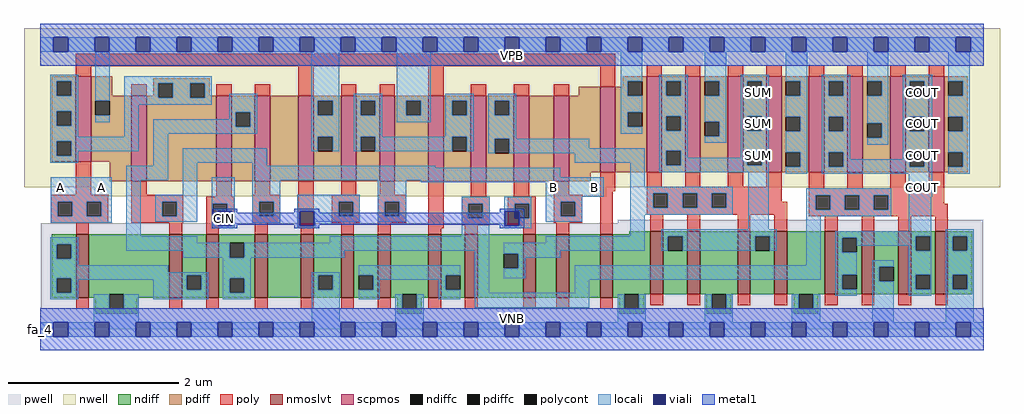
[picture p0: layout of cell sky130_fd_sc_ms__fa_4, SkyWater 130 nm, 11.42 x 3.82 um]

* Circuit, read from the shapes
.subckt sky130_fd_sc_ms__fa_4 A B CIN VGND VNB VPB VPWR COUT SUM
XM1 VGND A n1 VNB sky130_fd_pr__nfet_01v8_lvt w=0.74 l=0.15
XM2 n1 B VGND VNB sky130_fd_pr__nfet_01v8_lvt w=0.74 l=0.15
XM3 n2 CIN n1 VNB sky130_fd_pr__nfet_01v8_lvt w=0.74 l=0.15
XM4 n3 B n2 VNB sky130_fd_pr__nfet_01v8_lvt w=0.74 l=0.15
XM5 VGND A n3 VNB sky130_fd_pr__nfet_01v8_lvt w=0.74 l=0.15
XM6 n4 CIN VGND VNB sky130_fd_pr__nfet_01v8_lvt w=0.74 l=0.15
XM7 VGND B n4 VNB sky130_fd_pr__nfet_01v8_lvt w=0.74 l=0.15
XM8 n4 A VGND VNB sky130_fd_pr__nfet_01v8_lvt w=0.74 l=0.15
XM9 n5 n2 n4 VNB sky130_fd_pr__nfet_01v8_lvt w=0.74 l=0.15
XM10 n6 CIN n5 VNB sky130_fd_pr__nfet_01v8_lvt w=0.74 l=0.15
XM11 n7 B n6 VNB sky130_fd_pr__nfet_01v8_lvt w=0.74 l=0.15
XM12 VGND A n7 VNB sky130_fd_pr__nfet_01v8_lvt w=0.74 l=0.15
XM13 SUM n5 VGND VNB sky130_fd_pr__nfet_01v8_lvt w=0.74 l=0.15 m=4
XM14 COUT n2 VGND VNB sky130_fd_pr__nfet_01v8_lvt w=0.74 l=0.15 m=4
XM15 VPWR A n8 VPB sky130_fd_pr__pfet_01v8 w=1 l=0.18
XM16 n8 B VPWR VPB sky130_fd_pr__pfet_01v8 w=1 l=0.18
XM17 n2 CIN n8 VPB sky130_fd_pr__pfet_01v8 w=1 l=0.18
XM18 n9 B n2 VPB sky130_fd_pr__pfet_01v8 w=1 l=0.18
XM19 VPWR A n9 VPB sky130_fd_pr__pfet_01v8 w=1 l=0.18
XM20 n10 CIN VPWR VPB sky130_fd_pr__pfet_01v8 w=1 l=0.18
XM21 VPWR B n10 VPB sky130_fd_pr__pfet_01v8 w=1 l=0.18
XM22 n10 A VPWR VPB sky130_fd_pr__pfet_01v8 w=1 l=0.18
XM23 n5 n2 n10 VPB sky130_fd_pr__pfet_01v8 w=1 l=0.18
XM24 n11 CIN n5 VPB sky130_fd_pr__pfet_01v8 w=1 l=0.18
XM25 n12 B n11 VPB sky130_fd_pr__pfet_01v8 w=1 l=0.18
XM26 VPWR A n12 VPB sky130_fd_pr__pfet_01v8 w=1 l=0.18
XM27 SUM n5 VPWR VPB sky130_fd_pr__pfet_01v8 w=1.12 l=0.18 m=4
XM28 COUT n2 VPWR VPB sky130_fd_pr__pfet_01v8 w=1.12 l=0.18 m=4
.ends

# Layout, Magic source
magic
tech sky130A
magscale 1 2
<< nwell >>
rect -38 332 2246 704
rect 127 311 1324 332
<< pwell >>
rect 1352 248 2207 256
rect 1 49 2207 248
rect 0 0 2208 49
<< scpmos >>
rect 83 392 119 592
rect 213 347 249 547
rect 412 347 448 547
rect 502 347 538 547
rect 604 347 640 547
rect 704 347 740 547
rect 794 347 830 547
rect 908 347 944 547
rect 1008 347 1044 547
rect 1108 347 1144 547
rect 1202 347 1238 547
rect 1310 368 1346 568
rect 1419 368 1455 592
rect 1509 368 1545 592
rect 1609 368 1645 592
rect 1699 368 1735 592
rect 1799 368 1835 592
rect 1889 368 1925 592
rect 1989 368 2025 592
rect 2079 368 2115 592
<< nmoslvt >>
rect 84 74 114 222
rect 302 74 332 222
rect 388 74 418 222
rect 502 74 532 222
rect 610 74 640 222
rect 704 74 734 222
rect 790 74 820 222
rect 908 74 938 222
rect 994 74 1024 222
rect 1130 74 1160 222
rect 1208 74 1238 222
rect 1310 74 1340 222
rect 1428 82 1458 230
rect 1514 82 1544 230
rect 1632 82 1662 230
rect 1718 82 1748 230
rect 1836 82 1866 230
rect 1922 82 1952 230
rect 2008 82 2038 230
rect 2094 82 2124 230
<< ndiff >>
rect 1378 222 1428 230
rect 27 199 84 222
rect 27 165 39 199
rect 73 165 84 199
rect 27 120 84 165
rect 27 86 39 120
rect 73 86 84 120
rect 27 74 84 86
rect 114 82 302 222
rect 114 74 161 82
rect 129 48 161 74
rect 195 74 302 82
rect 332 127 388 222
rect 332 93 343 127
rect 377 93 388 127
rect 332 74 388 93
rect 418 202 502 222
rect 418 168 443 202
rect 477 168 502 202
rect 418 120 502 168
rect 418 86 443 120
rect 477 86 502 120
rect 418 74 502 86
rect 532 74 610 222
rect 640 127 704 222
rect 640 93 651 127
rect 685 93 704 127
rect 640 74 704 93
rect 734 127 790 222
rect 734 93 745 127
rect 779 93 790 127
rect 734 74 790 93
rect 820 82 908 222
rect 820 74 847 82
rect 195 48 227 74
rect 835 48 847 74
rect 881 74 908 82
rect 938 127 994 222
rect 938 93 949 127
rect 983 93 994 127
rect 938 74 994 93
rect 1024 177 1130 222
rect 1024 143 1085 177
rect 1119 143 1130 177
rect 1024 74 1130 143
rect 1160 74 1208 222
rect 1238 74 1310 222
rect 1340 82 1428 222
rect 1458 218 1514 230
rect 1458 184 1469 218
rect 1503 184 1514 218
rect 1458 82 1514 184
rect 1544 82 1632 230
rect 1662 218 1718 230
rect 1662 184 1673 218
rect 1707 184 1718 218
rect 1662 82 1718 184
rect 1748 82 1836 230
rect 1866 214 1922 230
rect 1866 180 1877 214
rect 1911 180 1922 214
rect 1866 128 1922 180
rect 1866 94 1877 128
rect 1911 94 1922 128
rect 1866 82 1922 94
rect 1952 146 2008 230
rect 1952 112 1963 146
rect 1997 112 2008 146
rect 1952 82 2008 112
rect 2038 218 2094 230
rect 2038 184 2049 218
rect 2083 184 2094 218
rect 2038 128 2094 184
rect 2038 94 2049 128
rect 2083 94 2094 128
rect 2038 82 2094 94
rect 2124 218 2181 230
rect 2124 184 2135 218
rect 2169 184 2181 218
rect 2124 128 2181 184
rect 2124 94 2135 128
rect 2169 94 2181 128
rect 2124 82 2181 94
rect 1340 74 1367 82
rect 881 48 893 74
rect 1355 48 1367 74
rect 1401 48 1413 82
rect 129 36 227 48
rect 835 36 893 48
rect 1355 36 1413 48
rect 1559 48 1571 82
rect 1605 48 1617 82
rect 1559 36 1617 48
rect 1763 48 1775 82
rect 1809 48 1821 82
rect 1763 36 1821 48
<< pdiff >>
rect 27 580 83 592
rect 27 546 39 580
rect 73 546 83 580
rect 27 510 83 546
rect 27 476 39 510
rect 73 476 83 510
rect 27 440 83 476
rect 27 406 39 440
rect 73 406 83 440
rect 27 392 83 406
rect 119 547 169 592
rect 264 576 397 588
rect 264 547 276 576
rect 119 535 213 547
rect 119 501 129 535
rect 163 501 213 535
rect 119 392 213 501
rect 163 347 213 392
rect 249 542 276 547
rect 310 542 351 576
rect 385 547 397 576
rect 1363 580 1419 592
rect 1363 568 1375 580
rect 1260 547 1310 568
rect 385 542 412 547
rect 249 347 412 542
rect 448 508 502 547
rect 448 474 458 508
rect 492 474 502 508
rect 448 347 502 474
rect 538 347 604 547
rect 640 535 704 547
rect 640 501 650 535
rect 684 501 704 535
rect 640 451 704 501
rect 640 417 650 451
rect 684 417 704 451
rect 640 347 704 417
rect 740 535 794 547
rect 740 501 750 535
rect 784 501 794 535
rect 740 451 794 501
rect 740 417 750 451
rect 784 417 794 451
rect 740 347 794 417
rect 830 535 908 547
rect 830 501 857 535
rect 891 501 908 535
rect 830 347 908 501
rect 944 535 1008 547
rect 944 501 964 535
rect 998 501 1008 535
rect 944 451 1008 501
rect 944 417 964 451
rect 998 417 1008 451
rect 944 347 1008 417
rect 1044 535 1108 547
rect 1044 501 1064 535
rect 1098 501 1108 535
rect 1044 446 1108 501
rect 1044 412 1064 446
rect 1098 412 1108 446
rect 1044 347 1108 412
rect 1144 347 1202 547
rect 1238 368 1310 547
rect 1346 546 1375 568
rect 1409 546 1419 580
rect 1346 508 1419 546
rect 1346 474 1375 508
rect 1409 474 1419 508
rect 1346 368 1419 474
rect 1455 580 1509 592
rect 1455 546 1465 580
rect 1499 546 1509 580
rect 1455 499 1509 546
rect 1455 465 1465 499
rect 1499 465 1509 499
rect 1455 418 1509 465
rect 1455 384 1465 418
rect 1499 384 1509 418
rect 1455 368 1509 384
rect 1545 580 1609 592
rect 1545 546 1555 580
rect 1589 546 1609 580
rect 1545 486 1609 546
rect 1545 452 1555 486
rect 1589 452 1609 486
rect 1545 368 1609 452
rect 1645 580 1699 592
rect 1645 546 1655 580
rect 1689 546 1699 580
rect 1645 499 1699 546
rect 1645 465 1655 499
rect 1689 465 1699 499
rect 1645 418 1699 465
rect 1645 384 1655 418
rect 1689 384 1699 418
rect 1645 368 1699 384
rect 1735 580 1799 592
rect 1735 546 1745 580
rect 1779 546 1799 580
rect 1735 497 1799 546
rect 1735 463 1745 497
rect 1779 463 1799 497
rect 1735 414 1799 463
rect 1735 380 1745 414
rect 1779 380 1799 414
rect 1735 368 1799 380
rect 1835 580 1889 592
rect 1835 546 1845 580
rect 1879 546 1889 580
rect 1835 497 1889 546
rect 1835 463 1845 497
rect 1879 463 1889 497
rect 1835 414 1889 463
rect 1835 380 1845 414
rect 1879 380 1889 414
rect 1835 368 1889 380
rect 1925 580 1989 592
rect 1925 546 1935 580
rect 1969 546 1989 580
rect 1925 482 1989 546
rect 1925 448 1935 482
rect 1969 448 1989 482
rect 1925 368 1989 448
rect 2025 580 2079 592
rect 2025 546 2035 580
rect 2069 546 2079 580
rect 2025 497 2079 546
rect 2025 463 2035 497
rect 2069 463 2079 497
rect 2025 414 2079 463
rect 2025 380 2035 414
rect 2069 380 2079 414
rect 2025 368 2079 380
rect 2115 580 2171 592
rect 2115 546 2125 580
rect 2159 546 2171 580
rect 2115 497 2171 546
rect 2115 463 2125 497
rect 2159 463 2171 497
rect 2115 414 2171 463
rect 2115 380 2125 414
rect 2159 380 2171 414
rect 2115 368 2171 380
rect 1238 347 1288 368
<< ndiffc >>
rect 39 165 73 199
rect 39 86 73 120
rect 161 48 195 82
rect 343 93 377 127
rect 443 168 477 202
rect 443 86 477 120
rect 651 93 685 127
rect 745 93 779 127
rect 847 48 881 82
rect 949 93 983 127
rect 1085 143 1119 177
rect 1469 184 1503 218
rect 1673 184 1707 218
rect 1877 180 1911 214
rect 1877 94 1911 128
rect 1963 112 1997 146
rect 2049 184 2083 218
rect 2049 94 2083 128
rect 2135 184 2169 218
rect 2135 94 2169 128
rect 1367 48 1401 82
rect 1571 48 1605 82
rect 1775 48 1809 82
<< pdiffc >>
rect 39 546 73 580
rect 39 476 73 510
rect 39 406 73 440
rect 129 501 163 535
rect 276 542 310 576
rect 351 542 385 576
rect 458 474 492 508
rect 650 501 684 535
rect 650 417 684 451
rect 750 501 784 535
rect 750 417 784 451
rect 857 501 891 535
rect 964 501 998 535
rect 964 417 998 451
rect 1064 501 1098 535
rect 1064 412 1098 446
rect 1375 546 1409 580
rect 1375 474 1409 508
rect 1465 546 1499 580
rect 1465 465 1499 499
rect 1465 384 1499 418
rect 1555 546 1589 580
rect 1555 452 1589 486
rect 1655 546 1689 580
rect 1655 465 1689 499
rect 1655 384 1689 418
rect 1745 546 1779 580
rect 1745 463 1779 497
rect 1745 380 1779 414
rect 1845 546 1879 580
rect 1845 463 1879 497
rect 1845 380 1879 414
rect 1935 546 1969 580
rect 1935 448 1969 482
rect 2035 546 2069 580
rect 2035 463 2069 497
rect 2035 380 2069 414
rect 2125 546 2159 580
rect 2125 463 2159 497
rect 2125 380 2159 414
<< poly >>
rect 83 615 1346 645
rect 83 592 119 615
rect 213 547 249 573
rect 83 315 119 392
rect 412 547 448 573
rect 502 547 538 573
rect 604 547 640 615
rect 704 547 740 573
rect 794 547 830 573
rect 908 547 944 615
rect 1008 547 1044 573
rect 1108 547 1144 573
rect 1202 547 1238 573
rect 1310 568 1346 615
rect 1419 592 1455 618
rect 1509 592 1545 618
rect 1609 592 1645 618
rect 1699 592 1735 618
rect 1799 592 1835 618
rect 1889 592 1925 618
rect 1989 592 2025 618
rect 2079 592 2115 618
rect 213 315 249 347
rect 25 299 159 315
rect 25 265 41 299
rect 75 265 109 299
rect 143 265 159 299
rect 25 249 159 265
rect 213 299 335 315
rect 412 310 448 347
rect 502 315 538 347
rect 213 265 285 299
rect 319 265 335 299
rect 213 249 335 265
rect 388 294 454 310
rect 388 260 404 294
rect 438 260 454 294
rect 84 222 114 249
rect 302 222 332 249
rect 388 244 454 260
rect 496 299 562 315
rect 496 265 512 299
rect 546 265 562 299
rect 496 249 562 265
rect 388 222 418 244
rect 502 222 532 249
rect 604 237 640 347
rect 704 315 740 347
rect 794 315 830 347
rect 682 299 748 315
rect 682 265 698 299
rect 732 265 748 299
rect 682 249 748 265
rect 790 299 856 315
rect 790 265 806 299
rect 840 265 856 299
rect 790 249 856 265
rect 610 222 640 237
rect 704 222 734 249
rect 790 222 820 249
rect 908 237 944 347
rect 1008 310 1044 347
rect 1108 310 1144 347
rect 1202 315 1238 347
rect 1310 323 1346 368
rect 1419 334 1455 368
rect 1509 334 1545 368
rect 1609 334 1645 368
rect 1699 334 1735 368
rect 986 294 1052 310
rect 986 260 1002 294
rect 1036 260 1052 294
rect 986 244 1052 260
rect 1094 294 1160 310
rect 1094 260 1110 294
rect 1144 260 1160 294
rect 1094 244 1160 260
rect 1202 299 1268 315
rect 1202 265 1218 299
rect 1252 265 1268 299
rect 1202 249 1268 265
rect 908 222 938 237
rect 994 222 1024 244
rect 1130 222 1160 244
rect 1208 222 1238 249
rect 1310 222 1340 323
rect 1419 318 1735 334
rect 1419 284 1435 318
rect 1469 284 1503 318
rect 1537 284 1571 318
rect 1605 298 1735 318
rect 1799 330 1835 368
rect 1889 330 1925 368
rect 1989 330 2025 368
rect 2079 330 2115 368
rect 1799 314 2115 330
rect 1605 284 1748 298
rect 1419 268 1748 284
rect 1428 230 1458 268
rect 1514 230 1544 268
rect 1632 230 1662 268
rect 1718 230 1748 268
rect 1799 280 1815 314
rect 1849 280 1883 314
rect 1917 280 1951 314
rect 1985 294 2115 314
rect 1985 280 2124 294
rect 1799 264 2124 280
rect 1836 230 1866 264
rect 1922 230 1952 264
rect 2008 230 2038 264
rect 2094 230 2124 264
rect 84 48 114 74
rect 302 48 332 74
rect 388 48 418 74
rect 502 48 532 74
rect 610 48 640 74
rect 704 48 734 74
rect 790 48 820 74
rect 908 48 938 74
rect 994 48 1024 74
rect 1130 48 1160 74
rect 1208 48 1238 74
rect 1310 48 1340 74
rect 1428 56 1458 82
rect 1514 56 1544 82
rect 1632 56 1662 82
rect 1718 56 1748 82
rect 1836 56 1866 82
rect 1922 56 1952 82
rect 2008 56 2038 82
rect 2094 56 2124 82
<< polycont >>
rect 41 265 75 299
rect 109 265 143 299
rect 285 265 319 299
rect 404 260 438 294
rect 512 265 546 299
rect 698 265 732 299
rect 806 265 840 299
rect 1002 260 1036 294
rect 1110 260 1144 294
rect 1218 265 1252 299
rect 1435 284 1469 318
rect 1503 284 1537 318
rect 1571 284 1605 318
rect 1815 280 1849 314
rect 1883 280 1917 314
rect 1951 280 1985 314
<< locali >>
rect 0 649 31 683
rect 65 649 127 683
rect 161 649 223 683
rect 257 649 319 683
rect 353 649 415 683
rect 449 649 511 683
rect 545 649 607 683
rect 641 649 703 683
rect 737 649 799 683
rect 833 649 895 683
rect 929 649 991 683
rect 1025 649 1087 683
rect 1121 649 1183 683
rect 1217 649 1279 683
rect 1313 649 1375 683
rect 1409 649 1471 683
rect 1505 649 1567 683
rect 1601 649 1663 683
rect 1697 649 1759 683
rect 1793 649 1855 683
rect 1889 649 1951 683
rect 1985 649 2047 683
rect 2081 649 2143 683
rect 2177 649 2208 683
rect 23 580 89 596
rect 23 546 39 580
rect 73 546 89 580
rect 23 510 89 546
rect 23 476 39 510
rect 73 476 89 510
rect 129 535 163 649
rect 129 485 163 501
rect 197 576 401 592
rect 197 542 276 576
rect 310 542 351 576
rect 385 542 401 576
rect 197 526 401 542
rect 23 451 89 476
rect 197 451 231 526
rect 442 508 508 551
rect 442 492 458 508
rect 23 440 231 451
rect 23 406 39 440
rect 73 417 231 440
rect 265 474 458 492
rect 492 474 508 508
rect 265 458 508 474
rect 634 535 700 649
rect 634 501 650 535
rect 684 501 700 535
rect 73 406 89 417
rect 23 390 89 406
rect 265 383 299 458
rect 634 451 700 501
rect 25 299 167 356
rect 25 265 41 299
rect 75 265 109 299
rect 143 265 167 299
rect 25 249 167 265
rect 201 349 299 383
rect 333 390 530 424
rect 634 417 650 451
rect 684 417 700 451
rect 734 535 800 551
rect 734 501 750 535
rect 784 501 800 535
rect 734 451 800 501
rect 834 535 914 649
rect 1359 580 1409 649
rect 834 501 857 535
rect 891 501 914 535
rect 834 485 914 501
rect 948 535 1014 551
rect 948 501 964 535
rect 998 501 1014 535
rect 948 451 1014 501
rect 734 417 750 451
rect 784 417 964 451
rect 998 417 1014 451
rect 1048 535 1114 551
rect 1048 501 1064 535
rect 1098 501 1114 535
rect 1048 446 1114 501
rect 1359 546 1375 580
rect 1359 508 1409 546
rect 1359 474 1375 508
rect 1359 458 1409 474
rect 1449 580 1515 596
rect 1449 546 1465 580
rect 1499 546 1515 580
rect 1449 499 1515 546
rect 1449 465 1465 499
rect 1499 465 1515 499
rect 1048 412 1064 446
rect 1098 424 1285 446
rect 1098 412 1415 424
rect 1251 390 1415 412
rect 201 218 235 349
rect 333 315 367 390
rect 496 383 530 390
rect 496 378 924 383
rect 496 356 1217 378
rect 269 299 367 315
rect 269 265 285 299
rect 319 265 367 299
rect 269 252 367 265
rect 401 294 455 356
rect 401 260 404 294
rect 438 276 455 294
rect 401 242 415 260
rect 449 242 455 276
rect 496 349 1319 356
rect 496 299 562 349
rect 496 265 512 299
rect 546 265 562 299
rect 496 249 562 265
rect 601 299 748 315
rect 601 276 698 299
rect 401 236 455 242
rect 601 242 607 276
rect 641 265 698 276
rect 732 265 748 299
rect 641 252 748 265
rect 790 299 856 349
rect 890 344 1319 349
rect 1183 310 1319 344
rect 1381 334 1415 390
rect 1449 418 1515 465
rect 1555 580 1605 649
rect 1589 546 1605 580
rect 1555 486 1605 546
rect 1589 452 1605 486
rect 1555 436 1605 452
rect 1639 580 1705 596
rect 1639 546 1655 580
rect 1689 546 1705 580
rect 1639 499 1705 546
rect 1639 465 1655 499
rect 1689 465 1705 499
rect 1449 384 1465 418
rect 1499 402 1515 418
rect 1639 418 1705 465
rect 1639 402 1655 418
rect 1499 384 1655 402
rect 1689 384 1705 418
rect 1449 368 1705 384
rect 1381 318 1621 334
rect 790 265 806 299
rect 840 265 856 299
rect 790 252 856 265
rect 986 294 1052 310
rect 986 260 1002 294
rect 1036 260 1052 294
rect 641 242 643 252
rect 601 236 643 242
rect 986 244 1052 260
rect 1086 294 1149 310
rect 1086 276 1110 294
rect 986 218 1051 244
rect 1086 242 1087 276
rect 1144 260 1149 294
rect 1121 242 1149 260
rect 1183 299 1268 310
rect 1183 265 1218 299
rect 1252 265 1268 299
rect 1183 252 1268 265
rect 1381 284 1435 318
rect 1469 284 1503 318
rect 1537 284 1571 318
rect 1605 284 1621 318
rect 1381 268 1621 284
rect 1086 236 1149 242
rect 1381 218 1415 268
rect 1657 234 1705 368
rect 1745 580 1795 649
rect 1779 546 1795 580
rect 1745 497 1795 546
rect 1779 463 1795 497
rect 1745 414 1795 463
rect 1779 380 1795 414
rect 1745 364 1795 380
rect 1829 580 1895 596
rect 1829 546 1845 580
rect 1879 546 1895 580
rect 1829 497 1895 546
rect 1829 463 1845 497
rect 1879 463 1895 497
rect 1829 414 1895 463
rect 1935 580 1985 649
rect 1969 546 1985 580
rect 1935 482 1985 546
rect 1969 448 1985 482
rect 1935 432 1985 448
rect 2019 580 2087 596
rect 2019 546 2035 580
rect 2069 546 2087 580
rect 2019 497 2087 546
rect 2019 463 2035 497
rect 2069 463 2087 497
rect 1829 380 1845 414
rect 1879 398 1895 414
rect 2019 414 2087 463
rect 2019 398 2035 414
rect 1879 380 2035 398
rect 2069 380 2087 414
rect 1829 364 2087 380
rect 2125 580 2175 649
rect 2159 546 2175 580
rect 2125 497 2175 546
rect 2159 463 2175 497
rect 2125 414 2175 463
rect 2159 380 2175 414
rect 2125 364 2175 380
rect 1793 314 1991 330
rect 1793 280 1815 314
rect 1849 280 1883 314
rect 1917 280 1951 314
rect 1985 280 1991 314
rect 1793 264 1991 280
rect 2033 310 2087 364
rect 23 199 89 215
rect 23 165 39 199
rect 73 165 89 199
rect 201 202 367 218
rect 677 202 1051 218
rect 1183 202 1415 218
rect 201 184 443 202
rect 333 168 443 184
rect 477 184 1051 202
rect 477 168 711 184
rect 23 150 89 165
rect 23 134 299 150
rect 23 127 393 134
rect 23 120 343 127
rect 23 86 39 120
rect 73 116 343 120
rect 73 86 89 116
rect 23 70 89 86
rect 265 93 343 116
rect 377 93 393 127
rect 125 48 161 82
rect 195 48 231 82
rect 265 70 393 93
rect 427 120 493 168
rect 427 86 443 120
rect 477 86 493 120
rect 427 70 493 86
rect 635 127 701 134
rect 635 93 651 127
rect 685 93 701 127
rect 125 17 231 48
rect 635 17 701 93
rect 745 127 983 150
rect 779 116 949 127
rect 779 93 795 116
rect 745 70 795 93
rect 933 93 949 116
rect 831 48 847 82
rect 881 48 897 82
rect 933 70 983 93
rect 1017 85 1051 184
rect 1085 184 1415 202
rect 1453 218 1723 234
rect 1453 184 1469 218
rect 1503 184 1673 218
rect 1707 184 1723 218
rect 1085 177 1217 184
rect 1119 168 1217 177
rect 1119 143 1135 168
rect 1793 150 1827 264
rect 2033 230 2085 310
rect 1085 119 1135 143
rect 1251 116 1827 150
rect 1861 218 2085 230
rect 1861 214 2049 218
rect 1861 180 1877 214
rect 1911 196 2049 214
rect 1861 128 1911 180
rect 2033 184 2049 196
rect 2083 184 2085 218
rect 1251 85 1285 116
rect 1017 51 1285 85
rect 1861 94 1877 128
rect 831 17 897 48
rect 1351 48 1367 82
rect 1401 48 1417 82
rect 1351 17 1417 48
rect 1555 48 1571 82
rect 1605 48 1621 82
rect 1555 17 1621 48
rect 1759 48 1775 82
rect 1809 48 1825 82
rect 1861 78 1911 94
rect 1947 146 1997 162
rect 1947 112 1963 146
rect 1759 17 1825 48
rect 1947 17 1997 112
rect 2033 128 2085 184
rect 2033 94 2049 128
rect 2083 94 2085 128
rect 2033 78 2085 94
rect 2119 218 2185 234
rect 2119 184 2135 218
rect 2169 184 2185 218
rect 2119 128 2185 184
rect 2119 94 2135 128
rect 2169 94 2185 128
rect 2119 17 2185 94
rect 0 -17 31 17
rect 65 -17 127 17
rect 161 -17 223 17
rect 257 -17 319 17
rect 353 -17 415 17
rect 449 -17 511 17
rect 545 -17 607 17
rect 641 -17 703 17
rect 737 -17 799 17
rect 833 -17 895 17
rect 929 -17 991 17
rect 1025 -17 1087 17
rect 1121 -17 1183 17
rect 1217 -17 1279 17
rect 1313 -17 1375 17
rect 1409 -17 1471 17
rect 1505 -17 1567 17
rect 1601 -17 1663 17
rect 1697 -17 1759 17
rect 1793 -17 1855 17
rect 1889 -17 1951 17
rect 1985 -17 2047 17
rect 2081 -17 2143 17
rect 2177 -17 2208 17
<< viali >>
rect 31 649 65 683
rect 127 649 161 683
rect 223 649 257 683
rect 319 649 353 683
rect 415 649 449 683
rect 511 649 545 683
rect 607 649 641 683
rect 703 649 737 683
rect 799 649 833 683
rect 895 649 929 683
rect 991 649 1025 683
rect 1087 649 1121 683
rect 1183 649 1217 683
rect 1279 649 1313 683
rect 1375 649 1409 683
rect 1471 649 1505 683
rect 1567 649 1601 683
rect 1663 649 1697 683
rect 1759 649 1793 683
rect 1855 649 1889 683
rect 1951 649 1985 683
rect 2047 649 2081 683
rect 2143 649 2177 683
rect 415 260 438 276
rect 438 260 449 276
rect 415 242 449 260
rect 607 242 641 276
rect 1087 260 1110 276
rect 1110 260 1121 276
rect 1087 242 1121 260
rect 31 -17 65 17
rect 127 -17 161 17
rect 223 -17 257 17
rect 319 -17 353 17
rect 415 -17 449 17
rect 511 -17 545 17
rect 607 -17 641 17
rect 703 -17 737 17
rect 799 -17 833 17
rect 895 -17 929 17
rect 991 -17 1025 17
rect 1087 -17 1121 17
rect 1183 -17 1217 17
rect 1279 -17 1313 17
rect 1375 -17 1409 17
rect 1471 -17 1505 17
rect 1567 -17 1601 17
rect 1663 -17 1697 17
rect 1759 -17 1793 17
rect 1855 -17 1889 17
rect 1951 -17 1985 17
rect 2047 -17 2081 17
rect 2143 -17 2177 17
<< metal1 >>
rect 0 683 2208 715
rect 0 649 31 683
rect 65 649 127 683
rect 161 649 223 683
rect 257 649 319 683
rect 353 649 415 683
rect 449 649 511 683
rect 545 649 607 683
rect 641 649 703 683
rect 737 649 799 683
rect 833 649 895 683
rect 929 649 991 683
rect 1025 649 1087 683
rect 1121 649 1183 683
rect 1217 649 1279 683
rect 1313 649 1375 683
rect 1409 649 1471 683
rect 1505 649 1567 683
rect 1601 649 1663 683
rect 1697 649 1759 683
rect 1793 649 1855 683
rect 1889 649 1951 683
rect 1985 649 2047 683
rect 2081 649 2143 683
rect 2177 649 2208 683
rect 0 617 2208 649
rect 403 276 461 282
rect 403 242 415 276
rect 449 273 461 276
rect 595 276 653 282
rect 595 273 607 276
rect 449 245 607 273
rect 449 242 461 245
rect 403 236 461 242
rect 595 242 607 245
rect 641 273 653 276
rect 1075 276 1133 282
rect 1075 273 1087 276
rect 641 245 1087 273
rect 641 242 653 245
rect 595 236 653 242
rect 1075 242 1087 245
rect 1121 242 1133 276
rect 1075 236 1133 242
rect 0 17 2208 49
rect 0 -17 31 17
rect 65 -17 127 17
rect 161 -17 223 17
rect 257 -17 319 17
rect 353 -17 415 17
rect 449 -17 511 17
rect 545 -17 607 17
rect 641 -17 703 17
rect 737 -17 799 17
rect 833 -17 895 17
rect 929 -17 991 17
rect 1025 -17 1087 17
rect 1121 -17 1183 17
rect 1217 -17 1279 17
rect 1313 -17 1375 17
rect 1409 -17 1471 17
rect 1505 -17 1567 17
rect 1601 -17 1663 17
rect 1697 -17 1759 17
rect 1793 -17 1855 17
rect 1889 -17 1951 17
rect 1985 -17 2047 17
rect 2081 -17 2143 17
rect 2177 -17 2208 17
rect 0 -49 2208 -17
<< labels >>
flabel pwell s 0 0 2208 49 0 FreeSans 200 0 0 0 VNB
port 5 nsew ground bidirectional
flabel nwell s 0 617 2208 666 0 FreeSans 200 0 0 0 VPB
port 6 nsew power bidirectional
rlabel comment s 0 0 0 0 4 fa_4
flabel metal1 s 415 242 449 276 0 FreeSans 340 0 0 0 CIN
port 3 nsew signal input
flabel metal1 s 0 617 2208 666 0 FreeSans 340 0 0 0 VPWR
port 7 nsew power bidirectional
flabel metal1 s 0 0 2208 49 0 FreeSans 340 0 0 0 VGND
port 4 nsew ground bidirectional
flabel locali s 1183 316 1217 350 0 FreeSans 340 0 0 0 B
port 2 nsew signal input
flabel locali s 1279 316 1313 350 0 FreeSans 340 0 0 0 B
port 2 nsew signal input
flabel locali s 2047 316 2081 350 0 FreeSans 340 0 0 0 COUT
port 8 nsew signal output
flabel locali s 2047 390 2081 424 0 FreeSans 340 0 0 0 COUT
port 8 nsew signal output
flabel locali s 2047 464 2081 498 0 FreeSans 340 0 0 0 COUT
port 8 nsew signal output
flabel locali s 2047 538 2081 572 0 FreeSans 340 0 0 0 COUT
port 8 nsew signal output
flabel locali s 1663 390 1697 424 0 FreeSans 340 0 0 0 SUM
port 9 nsew signal output
flabel locali s 1663 464 1697 498 0 FreeSans 340 0 0 0 SUM
port 9 nsew signal output
flabel locali s 1663 538 1697 572 0 FreeSans 340 0 0 0 SUM
port 9 nsew signal output
flabel locali s 31 316 65 350 0 FreeSans 340 0 0 0 A
port 1 nsew signal input
flabel locali s 127 316 161 350 0 FreeSans 340 0 0 0 A
port 1 nsew signal input
<< properties >>
string LEFsite unit
string LEFclass CORE
string FIXED_BBOX 0 0 2208 666
string GDS_FILE $PDKPATH/libs.ref/sky130_fd_sc_ms/gds/sky130_fd_sc_ms.gds
string LEFsymmetry X Y
string GDS_END 1345242
string GDS_START 1328968
<< end >>
